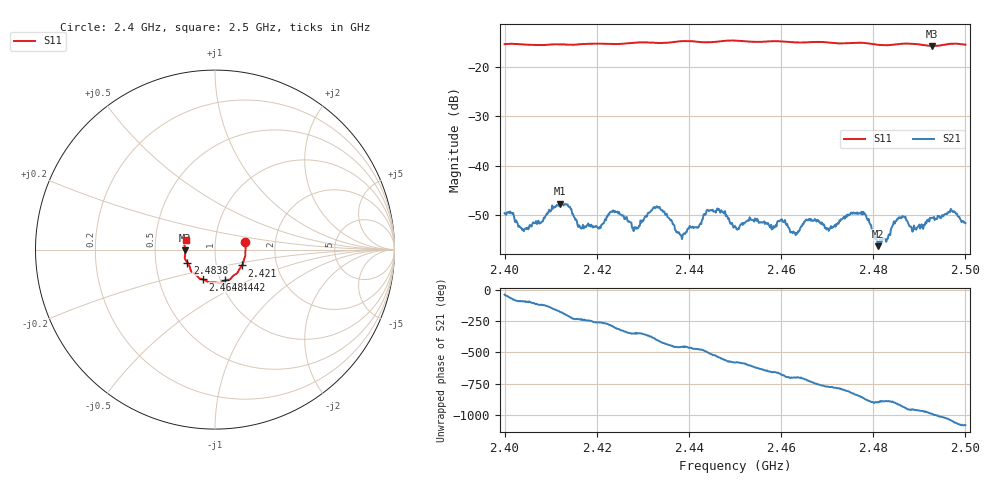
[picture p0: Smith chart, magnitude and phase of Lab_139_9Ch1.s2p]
# Hz S RI R 50
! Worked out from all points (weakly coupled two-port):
!   601 points, 2.4 GHz to 2.5 GHz, reference 50 ohm
!   highest |S21| = -47.78 dB at 2.412 GHz (marker M1); lowest = -56.5 dB at 2.481 GHz (marker M2)
!   lowest |S11| = -15.6 dB at 2.4928 GHz (marker M3), VSWR 1.40, Z = 35.8 - j0.368 ohm
!   |S11| at or under -10 dB: start of sweep to end of sweep
!   S12 and S22 are empty: the file has one direction only
!   S11 on the Smith chart (normalised r, x): 2.4 GHz: 1.40, +0.12; 2.421 GHz: 1.33, -0.24; 2.4442 GHz: 1.05, -0.37; 2.4648 GHz: 0.83, -0.28; 2.4838 GHz: 0.73, -0.11; 2.5 GHz: 0.72, +0.08
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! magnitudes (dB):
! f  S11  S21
! 2.4 GHz  -15.3  -49.7
! 2.4043 GHz  -15.3  -53.0
! 2.412 GHz  -15.3  -47.8
! 2.4167 GHz  -15.2  -52.9
! 2.421 GHz  -15.2  -52.1
! 2.424 GHz  -15.2  -49.3
! 2.4285 GHz  -14.9  -52.6
! 2.4333 GHz  -15.0  -48.6
! 2.4385 GHz  -14.6  -55.0
! 2.4442 GHz  -14.9  -49.1
! 2.45 GHz  -14.5  -52.3
! 2.4648 GHz  -14.9  -52.0
! 2.4667 GHz  -14.8  -51.3
! 2.4702 GHz  -14.9  -52.8
! 2.4777 GHz  -15.0  -50.0
! 2.481 GHz  -15.4  -56.5
! 2.4833 GHz  -15.4  -54.1
! 2.4838 GHz  -15.4  -53.0
! 2.486 GHz  -15.2  -50.8
! 2.4888 GHz  -15.2  -52.2
! 2.4928 GHz  -15.6  -50.7
! 2.5 GHz  -15.3  -51.7
